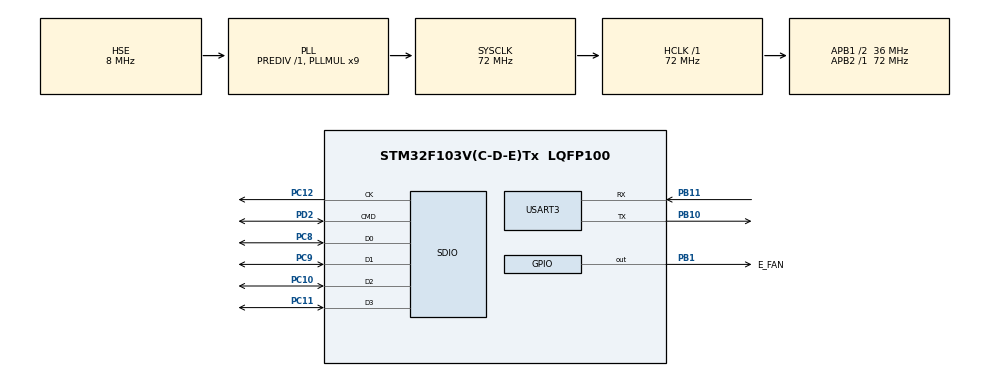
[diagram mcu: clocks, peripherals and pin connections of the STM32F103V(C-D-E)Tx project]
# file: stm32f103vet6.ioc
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Mcu.Family=STM32F1
Mcu.Name=STM32F103V(C-D-E)Tx
Mcu.Package=LQFP100
NVIC.PriorityGroup=NVIC_PRIORITYGROUP_4
NVIC.USART3_IRQn=true\:0\:0\:false\:false\:true\:true\:true\:true
OSC_IN.Mode=HSE-External-Oscillator
OSC_IN.Signal=RCC_OSC_IN
OSC_OUT.Mode=HSE-External-Oscillator
OSC_OUT.Signal=RCC_OSC_OUT
PA13.Mode=Serial_Wire
PA13.Signal=SYS_JTMS-SWDIO
PA14.Mode=Serial_Wire
PA14.Signal=SYS_JTCK-SWCLK
PB1.GPIO_Label=E_FAN
PB1.GPIO_Speed=GPIO_SPEED_FREQ_HIGH
PB1.PinState=GPIO_PIN_RESET
PB1.Signal=GPIO_Output
PB10.Mode=Asynchronous
PB10.Signal=USART3_TX
PB11.Mode=Asynchronous
PB11.Signal=USART3_RX
PC10.Mode=SD_4_bits_Wide_bus
PC10.Signal=SDIO_D2
PC11.Mode=SD_4_bits_Wide_bus
PC11.Signal=SDIO_D3
PC12.Mode=SD_4_bits_Wide_bus
PC12.Signal=SDIO_CK
PC8.Mode=SD_4_bits_Wide_bus
PC8.Signal=SDIO_D0
PC9.Mode=SD_4_bits_Wide_bus
PC9.Signal=SDIO_D1
PD2.Mode=SD_4_bits_Wide_bus
PD2.Signal=SDIO_CMD
ProjectManager.HeapSize=0x200
ProjectManager.StackSize=0x400
ProjectManager.TargetToolchain=Makefile
RCC.AHBFreq_Value=72000000
RCC.APB1CLKDivider=RCC_HCLK_DIV2
RCC.APB1Freq_Value=36000000
RCC.APB1TimFreq_Value=72000000
RCC.APB2Freq_Value=72000000
RCC.APB2TimFreq_Value=72000000
RCC.HCLKFreq_Value=72000000
RCC.PLLMUL=RCC_PLL_MUL9
RCC.PLLSourceVirtual=RCC_PLLSOURCE_HSE
RCC.SYSCLKFreq_VALUE=72000000
RCC.SYSCLKSource=RCC_SYSCLKSOURCE_PLLCLK
RCC.USBFreq_Value=72000000
SDIO.ClockDiv=2
USART3.VirtualMode=VM_ASYNC
VP_FATFS_VS_SDIO.Mode=SDIO
board=custom

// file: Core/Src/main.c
/* USER CODE BEGIN Header */
/**
 ******************************************************************************
 * @file           : main.c
 * @brief          : Main program body
 ******************************************************************************
 * @attention
 *
 * Copyright (c) 2024 STMicroelectronics.
 * All rights reserved.
 *
 * This software is licensed under terms that can be found in the LICENSE file
 * in the root directory of this software component.
 * If no LICENSE file comes with this software, it is provided AS-IS.
 *
 ******************************************************************************
 */
/* USER CODE END Header */
#include "main.h"
#include "fatfs.h"

/* USER CODE BEGIN Includes */
// cimo +
#include "serial.h"
/* USER CODE END Includes */

SD_HandleTypeDef hsd;

UART_HandleTypeDef huart3;

void SystemClock_Config(void);
static void MX_GPIO_Init(void);
static void MX_SDIO_SD_Init(void);
static void MX_USART3_UART_Init(void);

/* USER CODE BEGIN 0 */
// cimo +
void customSerialCommand()
{
    if (serialCheckCommand("e_fan_on"))
    {
        HAL_GPIO_WritePin(E_FAN_GPIO_Port, E_FAN_Pin, GPIO_PIN_SET);

        serialSendMessage("test1 on.");
        serialSendMessage("test2 on.");
        serialSendMessage("test3 on.");
        serialSendMessage("E_FAN: On.");
        serialSendMessage("test4 on.");
        serialSendMessage("test5 on.");
    }
    else if (serialCheckCommand("e_fan_off"))
    {
        HAL_GPIO_WritePin(E_FAN_GPIO_Port, E_FAN_Pin, GPIO_PIN_RESET);

        serialSendMessage("test1 off.");
        serialSendMessage("E_FAN: Off.");
        serialSendMessage("test2 off.");
    }
    else
    {
        serialSendMessage("UART info: Unknown command.");
    }
}
/* USER CODE END 0 */

int main(void)
{

    /* MCU Configuration--------------------------------------------------------*/

    /* Reset of all peripherals, Initializes the Flash interface and the Systick. */
    HAL_Init();

    /* Configure the system clock */
    SystemClock_Config();

    /* Initialize all configured peripherals */
    MX_GPIO_Init();
    MX_SDIO_SD_Init();
    MX_USART3_UART_Init();
    MX_FATFS_Init();
    /* USER CODE BEGIN 2 */
    // cimo +
    serialInit(&huart3, customSerialCommand);
    /* USER CODE END 2 */

    /* Infinite loop */
    while (1)
    {

    }
}

void SystemClock_Config(void)
{
    RCC_OscInitTypeDef RCC_OscInitStruct = {0};
    RCC_ClkInitTypeDef RCC_ClkInitStruct = {0};

    /** Initializes the RCC Oscillators according to the specified parameters
     * in the RCC_OscInitTypeDef structure.
     */
    RCC_OscInitStruct.OscillatorType = RCC_OSCILLATORTYPE_HSE;
    RCC_OscInitStruct.HSEState = RCC_HSE_ON;
    RCC_OscInitStruct.HSEPredivValue = RCC_HSE_PREDIV_DIV1;
    RCC_OscInitStruct.HSIState = RCC_HSI_ON;
    RCC_OscInitStruct.PLL.PLLState = RCC_PLL_ON;
    RCC_OscInitStruct.PLL.PLLSource = RCC_PLLSOURCE_HSE;
    RCC_OscInitStruct.PLL.PLLMUL = RCC_PLL_MUL9;
    if (HAL_RCC_OscConfig(&RCC_OscInitStruct) != HAL_OK)
    {
        Error_Handler();
    }

    /** Initializes the CPU, AHB and APB buses clocks
     */
    RCC_ClkInitStruct.ClockType = RCC_CLOCKTYPE_HCLK | RCC_CLOCKTYPE_SYSCLK | RCC_CLOCKTYPE_PCLK1 | RCC_CLOCKTYPE_PCLK2;
    RCC_ClkInitStruct.SYSCLKSource = RCC_SYSCLKSOURCE_PLLCLK;
    RCC_ClkInitStruct.AHBCLKDivider = RCC_SYSCLK_DIV1;
    RCC_ClkInitStruct.APB1CLKDivider = RCC_HCLK_DIV2;
    RCC_ClkInitStruct.APB2CLKDivider = RCC_HCLK_DIV1;

    if (HAL_RCC_ClockConfig(&RCC_ClkInitStruct, FLASH_LATENCY_2) != HAL_OK)
    {
        Error_Handler();
    }
}

static void MX_SDIO_SD_Init(void)
{

    hsd.Instance = SDIO;
    hsd.Init.ClockEdge = SDIO_CLOCK_EDGE_RISING;
    hsd.Init.ClockBypass = SDIO_CLOCK_BYPASS_DISABLE;
    hsd.Init.ClockPowerSave = SDIO_CLOCK_POWER_SAVE_DISABLE;
    hsd.Init.BusWide = SDIO_BUS_WIDE_4B;
    hsd.Init.HardwareFlowControl = SDIO_HARDWARE_FLOW_CONTROL_DISABLE;
    hsd.Init.ClockDiv = 2;
}

static void MX_USART3_UART_Init(void)
{

    huart3.Instance = USART3;
    huart3.Init.BaudRate = 115200;
    huart3.Init.WordLength = UART_WORDLENGTH_8B;
    huart3.Init.StopBits = UART_STOPBITS_1;
    huart3.Init.Parity = UART_PARITY_NONE;
    huart3.Init.Mode = UART_MODE_TX_RX;
    huart3.Init.HwFlowCtl = UART_HWCONTROL_NONE;
    huart3.Init.OverSampling = UART_OVERSAMPLING_16;
    if (HAL_UART_Init(&huart3) != HAL_OK)
    {
        Error_Handler();
    }
}

static void MX_GPIO_Init(void)
{
    GPIO_InitTypeDef GPIO_InitStruct = {0};

    /* GPIO Ports Clock Enable */
    __HAL_RCC_GPIOB_CLK_ENABLE();
    __HAL_RCC_GPIOC_CLK_ENABLE();
    __HAL_RCC_GPIOA_CLK_ENABLE();
    __HAL_RCC_GPIOD_CLK_ENABLE();

    /*Configure GPIO pin Output Level */
    HAL_GPIO_WritePin(E_FAN_GPIO_Port, E_FAN_Pin, GPIO_PIN_RESET);

    /*Configure GPIO pin : E_FAN_Pin */
    GPIO_InitStruct.Pin = E_FAN_Pin;
    GPIO_InitStruct.Mode = GPIO_MODE_OUTPUT_PP;
    GPIO_InitStruct.Pull = GPIO_NOPULL;
    GPIO_InitStruct.Speed = GPIO_SPEED_FREQ_HIGH;
    HAL_GPIO_Init(E_FAN_GPIO_Port, &GPIO_InitStruct);

}

void Error_Handler(void)
{
    __disable_irq();
    while (1)
    {
    }
}
